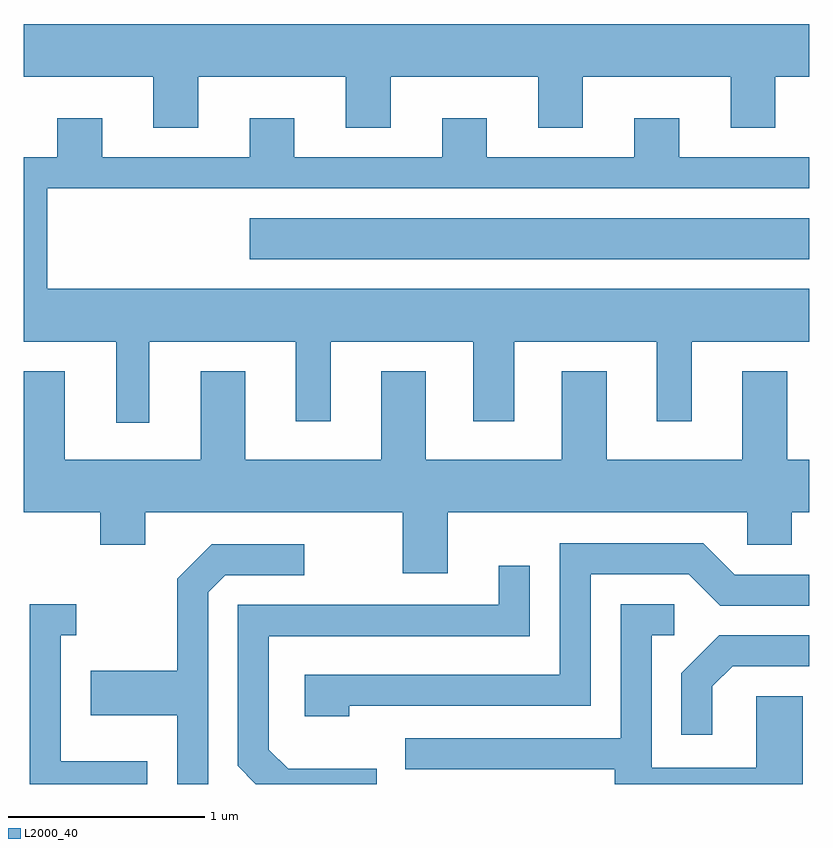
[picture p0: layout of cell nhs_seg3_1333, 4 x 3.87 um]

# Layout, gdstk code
import gdstk
lib = gdstk.Library(unit=1e-6, precision=1e-09)
def R(c, l, rs):  # rectangles x0, y0, x1, y1
    for r in rs: c.add(gdstk.rectangle(r[:2], r[2:], *l))
def P(c, l, *ps):  # polygons
    for p in ps: c.add(gdstk.Polygon(p, *l))
L2000_40 = (2000, 40)

nhs_seg3_1333 = lib.new_cell('nhs_seg3_1333')
R(nhs_seg3_1333, L2000_40, [(224.761,1200.566,227.611,1200.774)])
P(nhs_seg3_1333, L2000_40, [(224.499,1201.496),(225.251,1201.496),(225.251,1201.236),(225.479,1201.236),(225.479,1201.496),(226.231,1201.496),(226.231,1201.236),(226.459,1201.236),(226.459,1201.496),(227.211,1201.496),(227.211,1201.236),(227.439,1201.236),(227.439,1201.496),(227.611,1201.496),(227.611,1201.764),(223.611,1201.764),(223.611,1201.496),(224.271,1201.496),(224.271,1201.236),(224.499,1201.236)],
  [(224.249,1200.146),(224.996,1200.146),(224.996,1199.741),(225.174,1199.741),(225.174,1200.146),(225.901,1200.146),(225.901,1199.741),(226.109,1199.741),(226.109,1200.146),(226.836,1200.146),(226.836,1199.741),(227.014,1199.741),(227.014,1200.146),(227.611,1200.146),(227.611,1200.414),(223.729,1200.414),(223.729,1200.926),(227.611,1200.926),(227.611,1201.084),(226.949,1201.084),(226.949,1201.284),(226.721,1201.284),(226.721,1201.084),(225.969,1201.084),(225.969,1201.284),(225.741,1201.284),(225.741,1201.084),(224.989,1201.084),(224.989,1201.284),(224.761,1201.284),(224.761,1201.084),(224.009,1201.084),(224.009,1201.284),(223.781,1201.284),(223.781,1201.084),(223.611,1201.084),(223.611,1200.146),(224.081,1200.146),(224.081,1199.733),(224.249,1199.733)],
  [(225.769,1199.276),(227.296,1199.276),(227.296,1199.111),(227.524,1199.111),(227.524,1199.276),(227.611,1199.276),(227.611,1199.544),(227.499,1199.544),(227.499,1199.994),(227.271,1199.994),(227.271,1199.544),(226.579,1199.544),(226.579,1199.994),(226.351,1199.994),(226.351,1199.544),(225.659,1199.544),(225.659,1199.994),(225.431,1199.994),(225.431,1199.544),(224.739,1199.544),(224.739,1199.994),(224.511,1199.994),(224.511,1199.544),(223.819,1199.544),(223.819,1199.994),(223.611,1199.994),(223.611,1199.276),(224.001,1199.276),(224.001,1199.111),(224.229,1199.111),(224.229,1199.276),(225.541,1199.276),(225.541,1198.966),(225.769,1198.966)],
  [(225.269,1198.291),(226.499,1198.291),(226.499,1198.961),(226.999,1198.961),(227.159,1198.801),(227.611,1198.801),(227.611,1198.959),(227.232,1198.959),(227.072,1199.119),(226.341,1199.119),(226.341,1198.449),(225.041,1198.449),(225.041,1198.236),(225.269,1198.236)],
  [(224.549,1198.869),(224.637,1198.956),(225.038,1198.956),(225.038,1199.114),(224.569,1199.114),(224.391,1198.937),(224.391,1198.469),(223.951,1198.469),(223.951,1198.241),(224.391,1198.241),(224.391,1197.892),(224.549,1197.892)],
  [(225.409,1197.969),(224.957,1197.969),(224.859,1198.067),(224.859,1198.646),(226.189,1198.646),(226.189,1199.003),(226.031,1199.003),(226.031,1198.804),(224.701,1198.804),(224.701,1197.984),(224.793,1197.892),(225.409,1197.892)],
  [(224.239,1198.009),(223.799,1198.009),(223.799,1198.651),(223.878,1198.651),(223.878,1198.809),(223.641,1198.809),(223.641,1197.892),(224.239,1197.892)],
  [(227.579,1198.339),(227.341,1198.339),(227.341,1197.974),(226.809,1197.974),(226.809,1198.651),(226.923,1198.651),(226.923,1198.809),(226.651,1198.809),(226.651,1198.124),(225.553,1198.124),(225.553,1197.966),(226.621,1197.966),(226.621,1197.892),(227.579,1197.892)],
  [(227.119,1198.389),(227.222,1198.491),(227.611,1198.491),(227.611,1198.649),(227.154,1198.649),(226.961,1198.457),(226.961,1198.143),(227.119,1198.143)])

lib.write_gds('nhs_seg3_1333.gds')
